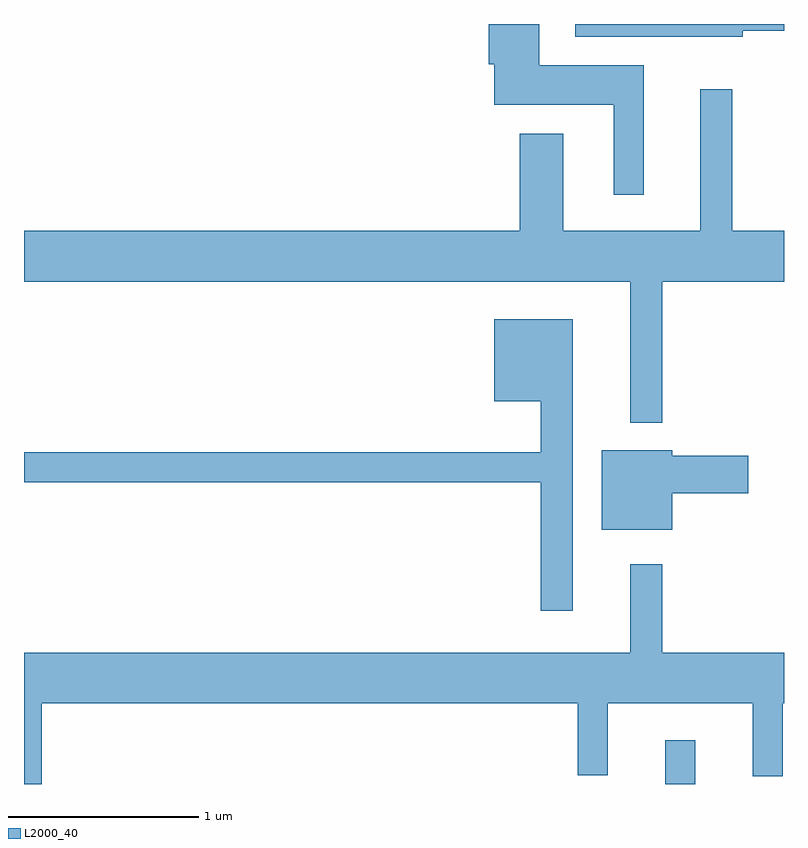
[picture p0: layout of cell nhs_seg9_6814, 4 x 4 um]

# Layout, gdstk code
import gdstk
lib = gdstk.Library(unit=1e-6, precision=1e-09)
def R(c, l, rs):  # rectangles x0, y0, x1, y1
    for r in rs: c.add(gdstk.rectangle(r[:2], r[2:], *l))
def P(c, l, *ps):  # polygons
    for p in ps: c.add(gdstk.Polygon(p, *l))
L2000_40 = (2000, 40)

nhs_seg9_6814 = lib.new_cell('nhs_seg9_6814')
R(nhs_seg9_6814, L2000_40, [(388.986,2062.432,389.144,2062.663)])
P(nhs_seg9_6814, L2000_40, [(389.394,2066.396),(389.611,2066.396),(389.611,2066.432),(388.513,2066.432),(388.513,2066.366),(389.394,2066.366)],
  [(388.874,2066.214),(388.324,2066.214),(388.324,2066.432),(388.056,2066.432),(388.056,2066.221),(388.086,2066.221),(388.086,2066.006),(388.716,2066.006),(388.716,2065.533),(388.874,2065.533)],
  [(388.969,2065.076),(389.611,2065.076),(389.611,2065.344),(389.339,2065.344),(389.339,2066.088),(389.171,2066.088),(389.171,2065.344),(388.449,2065.344),(388.449,2065.854),(388.221,2065.854),(388.221,2065.344),(385.611,2065.344),(385.611,2065.076),(388.801,2065.076),(388.801,2064.333),(388.969,2064.333)],
  [(388.499,2064.879),(388.086,2064.879),(388.086,2064.446),(388.331,2064.446),(388.331,2064.179),(385.611,2064.179),(385.611,2064.021),(388.331,2064.021),(388.331,2063.343),(388.499,2063.343)],
  [(389.024,2063.961),(389.424,2063.961),(389.424,2064.159),(389.024,2064.159),(389.024,2064.189),(388.651,2064.189),(388.651,2063.771),(389.024,2063.771)],
  [(385.704,2062.856),(388.526,2062.856),(388.526,2062.478),(388.684,2062.478),(388.684,2062.856),(389.446,2062.856),(389.446,2062.472),(389.604,2062.472),(389.604,2062.856),(389.611,2062.856),(389.611,2063.124),(388.969,2063.124),(388.969,2063.588),(388.801,2063.588),(388.801,2063.124),(385.611,2063.124),(385.611,2062.432),(385.704,2062.432)])

lib.write_gds('nhs_seg9_6814.gds')
